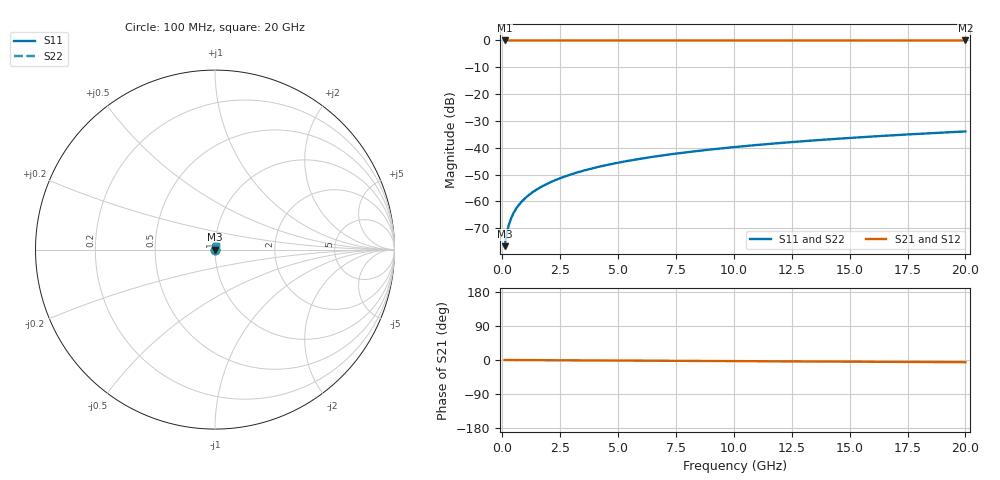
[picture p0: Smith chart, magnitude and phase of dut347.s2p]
! Touchstone file exported from HFSS 2026.1.0
!  File:  C:/ffzhzh/LocalFiles/Ansys_Project_Files/temp_train_TSV_347_1783019016_55676.aedt
!  Generated:  03:05:14 AM Jul  3, 2026
!  Design:  TSV
!  Project:  temp_train_TSV_347_1783019016_55676
! Variables:
!  h_bsmrdl = 2um
!  h_ox = 20um
!  h_rdl = 5um
!  h_sub = 50.16um
!  h_tmrdl = 5um
!  h_tsv = 50.16um
!  h_via = 3um
!  l_bsmrdl = 300um
!  l_sub = 423.32um
!  l_tmrdl = 200um
!  m_sub = 200um
!  pitch = 57.22um
!  r_tsv = 11.66um
!  s_tmrdl = 10um
!  w_bsmrdl = 18um
!  w_sub = 500um
!  w_tmrdl = 12um
!  x_tsv_center1 = 206um
!  x_tsv_center2 = 524um
!  x_tsv_center3 = 736um
!  x_tsv_center4 = 1054um
!  x_tsv_center5 = 1266um
!  x_tsv_center6 = 1584um
# GHz S MA R 50.000000
! Terminal data exported
! Port[1] = TSV1_1_T1
! Port[2] = TSV1_1_T2
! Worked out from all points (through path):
!   200 points, 100 MHz to 20 GHz, reference 50 ohm
!   highest |S21| = 0.00 dB at 100 MHz (marker M1); lowest = 0.0 dB at 20 GHz (marker M2)
!   lowest |S11| = -76.6 dB at 100 MHz (marker M3), VSWR 1.00, Z = 50 + j0.0128 ohm
!   |S11| at or under -10 dB: start of sweep to end of sweep
!   |S22| runs from -76.6 to -33.9 dB; largest |S21 - S12| = 3.6e-15
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0.1  0.0001471 60.5  0.9999 -0.0  0.9999 -0.0  0.0001471 60.5
! Gamma 0 0 0 0
! Port Impedance 50 0 50 0
0.2  0.0002667 72.5  0.9999 -0.1  0.9999 -0.1  0.0002667 72.5
0.3  0.0003885 76.3  0.9999 -0.1  0.9999 -0.1  0.0003885 76.3
0.4  0.0005079 77.9  0.9999 -0.1  0.9999 -0.1  0.0005079 77.9
0.5  0.000624 78.7  0.9999 -0.2  0.9999 -0.2  0.000624 78.7
0.6  0.000737 79.3  0.9999 -0.2  0.9999 -0.2  0.000737 79.3
0.7  0.0008472 79.7  0.9999 -0.2  0.9999 -0.2  0.0008472 79.7
0.9  0.001062 80.3  0.9998 -0.3  0.9998 -0.3  0.001062 80.3
1.1  0.001272 80.9  0.9998 -0.3  0.9998 -0.3  0.001272 80.9
1.3  0.001479 81.4  0.9998 -0.4  0.9998 -0.4  0.001479 81.4
1.6  0.001789 82.1  0.9998 -0.5  0.9998 -0.5  0.001789 82.1
1.9  0.002098 82.7  0.9997 -0.6  0.9997 -0.6  0.002098 82.7
2.6  0.00282 83.5  0.9997 -0.8  0.9997 -0.8  0.00282 83.5
3.5  0.003746 84.0  0.9997 -1.0  0.9997 -1.0  0.003746 84.0
4.2  0.004462 84.2  0.9996 -1.2  0.9996 -1.2  0.004462 84.2
5  0.005277 84.3  0.9996 -1.5  0.9996 -1.5  0.005277 84.3
6.8  0.007096 84.3  0.9995 -2.0  0.9995 -2.0  0.007096 84.3
8.3  0.008602 84.2  0.9995 -2.4  0.9995 -2.4  0.008602 84.2
10.1  0.0104 84.0  0.9994 -3.0  0.9994 -3.0  0.0104 84.0
13.4  0.01368 83.4  0.9993 -3.9  0.9993 -3.9  0.01368 83.4
16.7  0.01695 82.7  0.9992 -4.9  0.9992 -4.9  0.01695 82.7
20  0.02019 81.9  0.999 -5.9  0.999 -5.9  0.02019 81.9
